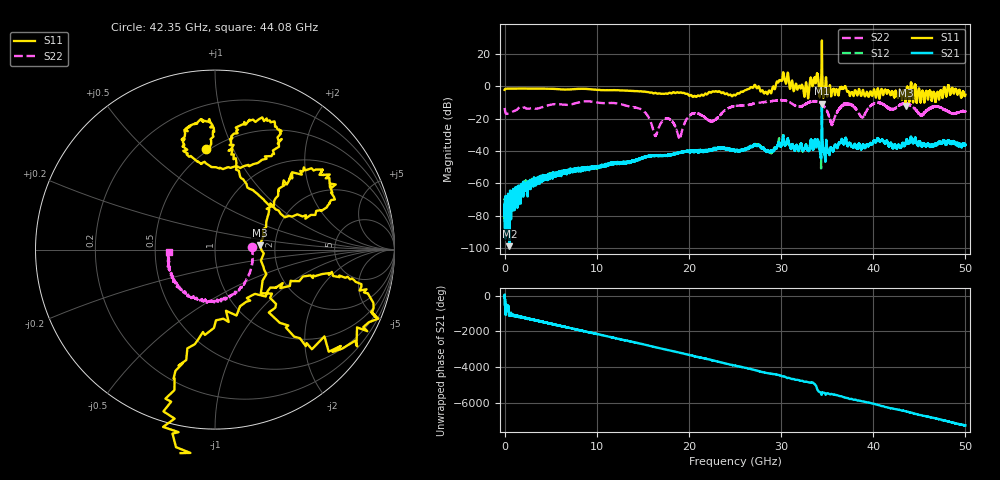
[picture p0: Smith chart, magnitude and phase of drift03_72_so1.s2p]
!Created with skrf (http://scikit-rf.org).
# Hz S RI R 50.0
!freq ReS11 ImS11 ReS21 ImS21 ReS12 ImS12 ReS22 ImS22
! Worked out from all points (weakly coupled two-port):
!   10000 points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, 5.3 MHz to 50 GHz, reference 50 ohm
!   highest |S21| = -10.74 dB at 34.43 GHz (marker M1); lowest = -98.9 dB at 535.3 MHz (marker M2)
!   lowest |S11| = -12.0 dB at 43.52 GHz (marker M3), VSWR 1.67, Z = 83.4 + j4.22 ohm
!   |S11| at or under -10 dB: 43.48819 GHz to 43.54479 GHz (56.61 MHz wide, 0.13 % of centre); 44.71965 GHz to 44.72575 GHz (6.097 MHz wide, 0.0136 % of centre); 45.5388 GHz to 45.5417 GHz (2.903 MHz wide, 0.00637 % of centre)
!   |S22| runs from -32.3 to -8.4 dB; largest |S21 - S12| = 0.08
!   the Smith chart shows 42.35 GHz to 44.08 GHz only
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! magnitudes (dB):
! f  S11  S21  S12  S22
! 5.3 MHz  -2.1  -78.3  -78.0  -13.3
! 535.3 MHz  -1.4  -98.9  -78.2  -16.4
! 3.285 GHz  -1.4  -58.2  -61.1  -13.7
! 8.34 GHz  -1.5  -50.7  -50.9  -9.5
! 14.58 GHz  -3.1  -45.4  -45.1  -13.6
! 16.67 GHz  -4.4  -42.6  -42.7  -26.5
! 17.8 GHz  -4.2  -42.2  -42.5  -20.0
! 19 GHz  -3.9  -40.9  -41.0  -32.3
! 20.29 GHz  -5.6  -40.0  -40.0  -17.1
! 22.56 GHz  -3.1  -38.8  -39.1  -21.3
! 25.01 GHz  -5.5  -39.7  -39.8  -12.1
! 28.72 GHz  -2.5  -40.3  -40.5  -9.4
! 30.14 GHz  4.4  -33.7  -33.9  -8.5
! 33.34 GHz  2.6  -34.8  -35.3  -9.3
! 34.43 GHz  28.5  -10.7  -12.9  -10.8
! 35.52 GHz  -3.6  -38.6  -38.7  -23.2
! 36.96 GHz  0.1  -33.0  -33.1  -10.9
! 38.78 GHz  -4.7  -38.1  -37.9  -19.2
! 40.17 GHz  -3.2  -34.1  -34.1  -10.5
! 41.67 GHz  -2.9  -36.8  -37.0  -13.1
! 43.52 GHz  -12.0  -35.1  -35.3  -10.8
! 50 GHz  -5.1  -36.2  -36.4  -15.5
